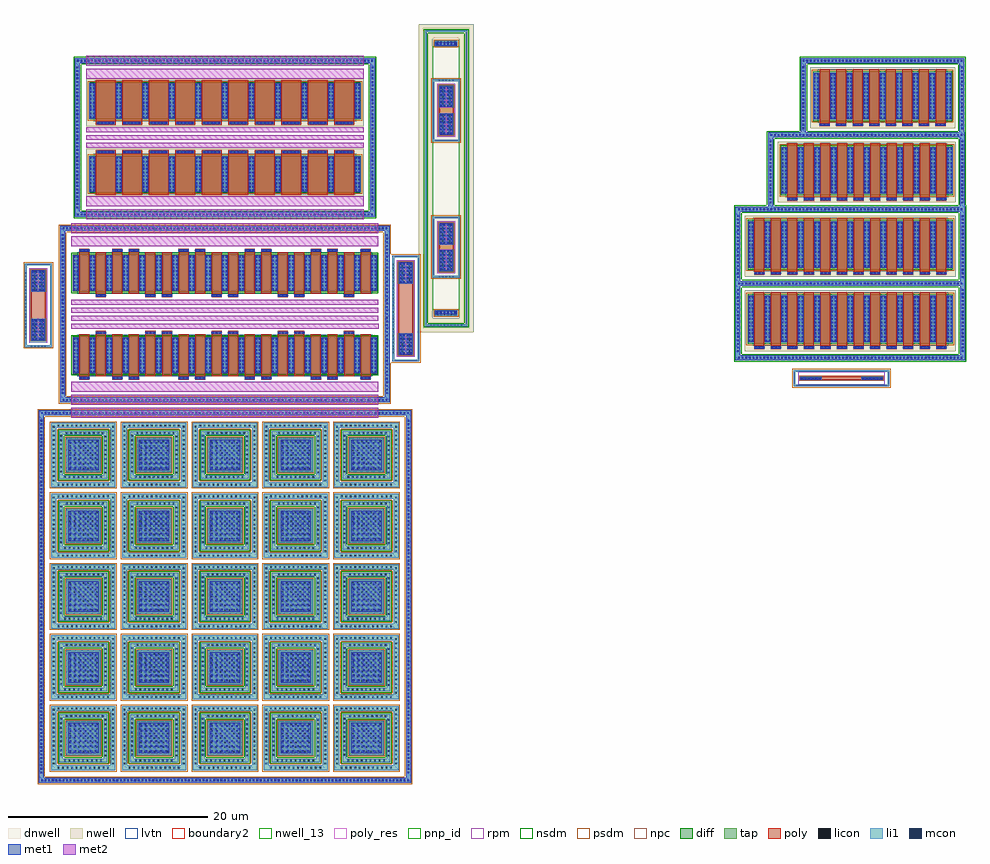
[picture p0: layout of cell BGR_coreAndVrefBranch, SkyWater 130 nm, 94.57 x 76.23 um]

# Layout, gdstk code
from math import pi, radians
import gdstk
lib = gdstk.Library(unit=1e-6, precision=5e-09)
def R(c, l, rs):  # rectangles x0, y0, x1, y1
    for r in rs: c.add(gdstk.rectangle(r[:2], r[2:], *l))
def A(c, l, x, y, w, h, nx, ny, dx, dy):  # array of equal rectangles
    R(c, l, [(x+i*dx, y+j*dy, x+i*dx+w, y+j*dy+h) for i in range(nx) for j in range(ny)])
def P(c, l, *ps):  # polygons
    for p in ps: c.add(gdstk.Polygon(p, *l))
nwell_13 = (64, 13)
dnwell = (64, 18)
nwell = (64, 20)
diff = (65, 20)
tap = (65, 44)
poly_res = (66, 13)
poly = (66, 20)
licon = (66, 44)
li1 = (67, 20)
mcon = (67, 44)
met1 = (68, 20)
met2 = (69, 20)
pnp_id = (82, 44)
rpm = (86, 20)
nsdm = (93, 44)
psdm = (94, 20)
npc = (95, 20)
lvtn = (125, 44)
boundary2 = (236, 0)

pfet = lib.new_cell('pfet')
R(pfet, nwell, [(-0.305,-0.38,2.625,5.72)])
R(pfet, diff, [(0,0,2.32,5)])
R(pfet, poly, [(0.66,-0.2,1.66,5.2), (0.66,5.2,1.66,5.53)])
A(pfet, licon, 0.065, 0.255, 0.17, 0.17, 1, 13, 0, 0.36)
A(pfet, licon, 0.425, 0.255, 0.17, 0.17, 1, 13, 0, 0.36)
A(pfet, licon, 1.725, 0.255, 0.17, 0.17, 1, 13, 0, 0.36)
A(pfet, licon, 2.085, 0.255, 0.17, 0.17, 1, 13, 0, 0.36)
A(pfet, licon, 0.715, 5.28, 0.17, 0.17, 3, 1, 0.36, 0)
R(pfet, li1, [(0.065,0.175,0.595,4.825), (1.725,0.175,2.255,4.825), (0.635,5.28,1.685,5.45)])
A(pfet, mcon, 0.065, 0.255, 0.17, 0.17, 1, 13, 0, 0.36)
A(pfet, mcon, 0.425, 0.255, 0.17, 0.17, 1, 13, 0, 0.36)
A(pfet, mcon, 1.725, 0.255, 0.17, 0.17, 1, 13, 0, 0.36)
A(pfet, mcon, 2.085, 0.255, 0.17, 0.17, 1, 13, 0, 0.36)
A(pfet, mcon, 0.715, 5.28, 0.17, 0.17, 3, 1, 0.36, 0)
R(pfet, met1, [(0.035,0.195,0.625,4.805), (1.695,0.195,2.285,4.805), (0.655,5.25,1.665,5.48)])
R(pfet, psdm, [(-0.125,-0.125,2.445,5.125)])
R(pfet, npc, [(0.65,5.19,1.67,5.54)])
R(pfet, lvtn, [(0.48,-0.18,1.84,5.18)])

guard_ring_gen_8 = lib.new_cell('guard_ring_gen$8')
P(guard_ring_gen_8, tap, [(-0.5,-0.5),(-0.5,6.95),(0,6.95),(0,0),(22.04,0),(22.04,6.95),(-0.5,6.95),(-0.5,7.45),(22.54,7.45),(22.54,-0.5)])
A(guard_ring_gen_8, licon, -0.225, -0.335, 0.17, 0.17, 63, 2, 0.36, 7.45)
A(guard_ring_gen_8, licon, -0.335, 0.33, 0.17, 0.17, 1, 18, 0, 0.36)
A(guard_ring_gen_8, licon, 22.205, 0.33, 0.17, 0.17, 1, 18, 0, 0.36)
P(guard_ring_gen_8, li1, [(-0.5,-0.5),(-0.5,6.95),(0,6.95),(0,0),(22.04,0),(22.04,6.95),(-0.5,6.95),(-0.5,7.45),(22.54,7.45),(22.54,-0.5)])
A(guard_ring_gen_8, mcon, -0.225, -0.335, 0.17, 0.17, 63, 2, 0.36, 7.45)
A(guard_ring_gen_8, mcon, -0.335, 0.33, 0.17, 0.17, 1, 18, 0, 0.36)
A(guard_ring_gen_8, mcon, 22.205, 0.33, 0.17, 0.17, 1, 18, 0, 0.36)
P(guard_ring_gen_8, met1, [(-0.5,-0.5),(-0.5,6.95),(0,6.95),(0,0),(22.04,0),(22.04,6.95),(-0.5,6.95),(-0.5,7.45),(22.54,7.45),(22.54,-0.5)])
P(guard_ring_gen_8, nsdm, [(-0.625,-0.625),(-0.625,6.825),(0.125,6.825),(0.125,0.125),(21.915,0.125),(21.915,6.825),(-0.625,6.825),(-0.625,7.575),(22.665,7.575),(22.665,-0.625)])

guard_ring_gen_4 = lib.new_cell('guard_ring_gen$4')
P(guard_ring_gen_4, tap, [(-0.5,-0.5),(-0.5,6.95),(0,6.95),(0,0),(15.4,0),(15.4,6.95),(-0.5,6.95),(-0.5,7.45),(15.9,7.45),(15.9,-0.5)])
A(guard_ring_gen_4, licon, -0.305, -0.335, 0.17, 0.17, 45, 2, 0.36, 7.45)
A(guard_ring_gen_4, licon, -0.335, 0.33, 0.17, 0.17, 1, 18, 0, 0.36)
A(guard_ring_gen_4, licon, 15.565, 0.33, 0.17, 0.17, 1, 18, 0, 0.36)
P(guard_ring_gen_4, li1, [(-0.5,-0.5),(-0.5,6.95),(0,6.95),(0,0),(15.4,0),(15.4,6.95),(-0.5,6.95),(-0.5,7.45),(15.9,7.45),(15.9,-0.5)])
A(guard_ring_gen_4, mcon, -0.305, -0.335, 0.17, 0.17, 45, 2, 0.36, 7.45)
A(guard_ring_gen_4, mcon, -0.335, 0.33, 0.17, 0.17, 1, 18, 0, 0.36)
A(guard_ring_gen_4, mcon, 15.565, 0.33, 0.17, 0.17, 1, 18, 0, 0.36)
P(guard_ring_gen_4, met1, [(-0.5,-0.5),(-0.5,6.95),(0,6.95),(0,0),(15.4,0),(15.4,6.95),(-0.5,6.95),(-0.5,7.45),(15.9,7.45),(15.9,-0.5)])
P(guard_ring_gen_4, nsdm, [(-0.625,-0.625),(-0.625,6.825),(0.125,6.825),(0.125,0.125),(15.275,0.125),(15.275,6.825),(-0.625,6.825),(-0.625,7.575),(16.025,7.575),(16.025,-0.625)])

guard_ring_gen = lib.new_cell('guard_ring_gen')
P(guard_ring_gen, tap, [(-0.5,-0.5),(-0.5,6.95),(0,6.95),(0,0),(18.72,0),(18.72,6.95),(-0.5,6.95),(-0.5,7.45),(19.22,7.45),(19.22,-0.5)])
A(guard_ring_gen, licon, -0.265, -0.335, 0.17, 0.17, 54, 2, 0.36, 7.45)
A(guard_ring_gen, licon, -0.335, 0.33, 0.17, 0.17, 1, 18, 0, 0.36)
A(guard_ring_gen, licon, 18.885, 0.33, 0.17, 0.17, 1, 18, 0, 0.36)
P(guard_ring_gen, li1, [(-0.5,-0.5),(-0.5,6.95),(0,6.95),(0,0),(18.72,0),(18.72,6.95),(-0.5,6.95),(-0.5,7.45),(19.22,7.45),(19.22,-0.5)])
A(guard_ring_gen, mcon, -0.265, -0.335, 0.17, 0.17, 54, 2, 0.36, 7.45)
A(guard_ring_gen, mcon, -0.335, 0.33, 0.17, 0.17, 1, 18, 0, 0.36)
A(guard_ring_gen, mcon, 18.885, 0.33, 0.17, 0.17, 1, 18, 0, 0.36)
P(guard_ring_gen, met1, [(-0.5,-0.5),(-0.5,6.95),(0,6.95),(0,0),(18.72,0),(18.72,6.95),(-0.5,6.95),(-0.5,7.45),(19.22,7.45),(19.22,-0.5)])
P(guard_ring_gen, nsdm, [(-0.625,-0.625),(-0.625,6.825),(0.125,6.825),(0.125,0.125),(18.595,0.125),(18.595,6.825),(-0.625,6.825),(-0.625,7.575),(19.345,7.575),(19.345,-0.625)])

res_poly = lib.new_cell('res_poly')
R(res_poly, tap, [(-0.825,-4.8,0.825,-4.63), (-0.825,-4.63,-0.655,4.63), (0.655,-4.63,0.825,4.63), (-0.825,4.63,0.825,4.8)])
R(res_poly, poly_res, [(-0.175,-2.05,0.175,2.05)])
R(res_poly, poly, [(-0.175,-4.15,0.175,4.15)])
A(res_poly, licon, -0.825, -3.995, 0.17, 0.17, 1, 24, 0, 0.34)
A(res_poly, licon, 0.655, -3.995, 0.17, 0.17, 1, 24, 0, 0.34)
R(res_poly, licon, [(-0.255,-4.8,-0.085,-4.63), (0.085,-4.8,0.255,-4.63), (-0.095,-4.07,0.095,-2.07), (-0.095,2.07,0.095,4.07), (-0.255,4.63,-0.085,4.8), (0.085,4.63,0.255,4.8)])
R(res_poly, li1, [(-0.825,-4.8,0.825,-4.63), (-0.825,-4.63,-0.655,4.63), (0.655,-4.63,0.825,4.63), (-0.175,-4.15,0.175,-1.99), (-0.175,1.99,0.175,4.15), (-0.825,4.63,0.825,4.8)])
A(res_poly, mcon, -0.085, -4.05, 0.17, 0.17, 1, 6, 0, 0.36)
A(res_poly, mcon, -0.085, 2.085, 0.17, 0.17, 1, 6, 0, 0.36)
R(res_poly, met1, [(-0.125,-4.12,0.125,-2.015), (-0.125,2.015,0.125,4.12)])
R(res_poly, rpm, [(-0.635,-4.35,0.635,4.35)])
R(res_poly, psdm, [(-0.95,-4.925,0.95,4.925)])
R(res_poly, npc, [(-0.27,-4.245,0.27,4.245)])

res_poly_8 = lib.new_cell('res_poly$8')
R(res_poly_8, nwell_13, [(-1.325,-13.25,1.325,13.25)])
R(res_poly_8, dnwell, [(-2.355,-15.07,2.355,15.07)])
R(res_poly_8, nwell, [(-2.755,-15.47,2.755,-14.04), (-2.755,-14.04,-1.325,14.04), (1.325,-14.04,2.755,14.04), (-2.755,14.04,2.755,15.47)])
R(res_poly_8, tap, [(-2.125,-14.84,2.125,-14.67), (-2.125,-14.67,-1.955,14.67), (1.955,-14.67,2.125,14.67), (-1.125,-13.78,1.125,-13.25), (-1.125,13.25,1.125,13.78), (-2.125,14.67,2.125,14.84)])
A(res_poly_8, licon, -1.615, -14.84, 0.17, 0.17, 10, 2, 0.34, 29.51)
A(res_poly_8, licon, -2.125, -14.195, 0.17, 0.17, 1, 84, 0, 0.34)
A(res_poly_8, licon, 1.955, -14.195, 0.17, 0.17, 1, 84, 0, 0.34)
A(res_poly_8, licon, -0.935, -13.77, 0.17, 0.17, 6, 2, 0.34, 0.34)
A(res_poly_8, licon, -0.935, 13.26, 0.17, 0.17, 6, 2, 0.34, 0.34)
R(res_poly_8, li1, [(-2.125,-14.84,2.125,-14.67), (-2.125,-14.67,-1.955,14.67), (1.955,-14.67,2.125,14.67), (-1.085,-13.78,1.085,-13.25), (-1.085,13.25,1.085,13.78), (-2.125,14.67,2.125,14.84)])
A(res_poly_8, mcon, -0.985, -13.55, 0.17, 0.17, 6, 2, 0.36, 26.93)
R(res_poly_8, met1, [(-1.125,-13.63,1.125,-13.305), (-1.125,13.305,1.125,13.63)])
R(res_poly_8, nsdm, [(-2.25,-14.965,2.25,-14.545), (-2.25,-14.545,-1.83,14.545), (1.83,-14.545,2.25,14.545), (-2.25,14.545,2.25,14.965)])
R(res_poly_8, psdm, [(-1.25,-13.905,1.25,-13.125), (-1.25,13.125,1.25,13.905)])

res_poly_7 = lib.new_cell('res_poly$7')
R(res_poly_7, tap, [(-1.355,-3.11,1.355,-2.94), (-1.355,-2.94,-1.185,2.94), (1.185,-2.94,1.355,2.94), (-1.355,2.94,1.355,3.11)])
R(res_poly_7, poly_res, [(-0.705,-0.36,0.705,0.36)])
R(res_poly_7, poly, [(-0.705,-2.46,0.705,2.46)])
A(res_poly_7, licon, -0.765, -3.11, 0.17, 0.17, 5, 2, 0.34, 6.05)
A(res_poly_7, licon, -1.355, -2.295, 0.17, 0.17, 1, 14, 0, 0.34)
A(res_poly_7, licon, 1.185, -2.295, 0.17, 0.17, 1, 14, 0, 0.34)
R(res_poly_7, licon, [(-0.45,-2.38,-0.26,-0.38), (0.26,-2.38,0.45,-0.38), (-0.45,0.38,-0.26,2.38), (0.26,0.38,0.45,2.38)])
R(res_poly_7, li1, [(-1.355,-3.11,1.355,-2.94), (-1.355,-2.94,-1.185,2.94), (1.185,-2.94,1.355,2.94), (-0.705,-2.46,0.705,-0.3), (-0.705,0.3,0.705,2.46), (-1.355,2.94,1.355,3.11)])
A(res_poly_7, mcon, -0.625, -2.36, 0.17, 0.17, 4, 6, 0.36, 0.36)
A(res_poly_7, mcon, -0.625, 0.395, 0.17, 0.17, 4, 6, 0.36, 0.36)
R(res_poly_7, met1, [(-0.655,-2.43,0.655,-0.325), (-0.655,0.325,0.655,2.43)])
R(res_poly_7, rpm, [(-0.905,-2.66,0.905,2.66)])
R(res_poly_7, psdm, [(-1.48,-3.235,1.48,3.235)])
R(res_poly_7, npc, [(-0.8,-2.555,0.8,2.555)])

res_poly_4 = lib.new_cell('res_poly$4')
R(res_poly_4, tap, [(-1.355,-5.305,1.355,-5.135), (-1.355,-5.135,-1.185,5.135), (1.185,-5.135,1.355,5.135), (-1.355,5.135,1.355,5.305)])
R(res_poly_4, poly_res, [(-0.705,-2.555,0.705,2.555)])
R(res_poly_4, poly, [(-0.705,-4.655,0.705,4.655)])
A(res_poly_4, licon, -0.765, -5.305, 0.17, 0.17, 5, 2, 0.34, 10.44)
A(res_poly_4, licon, -1.355, -4.505, 0.17, 0.17, 1, 27, 0, 0.34)
A(res_poly_4, licon, 1.185, -4.505, 0.17, 0.17, 1, 27, 0, 0.34)
R(res_poly_4, licon, [(-0.45,-4.575,-0.26,-2.575), (0.26,-4.575,0.45,-2.575), (-0.45,2.575,-0.26,4.575), (0.26,2.575,0.45,4.575)])
R(res_poly_4, li1, [(-1.355,-5.305,1.355,-5.135), (-1.355,-5.135,-1.185,5.135), (1.185,-5.135,1.355,5.135), (-0.705,-4.655,0.705,-2.495), (-0.705,2.495,0.705,4.655), (-1.355,5.135,1.355,5.305)])
A(res_poly_4, mcon, -0.625, -4.555, 0.17, 0.17, 4, 6, 0.36, 0.36)
A(res_poly_4, mcon, -0.625, 2.59, 0.17, 0.17, 4, 6, 0.36, 0.36)
R(res_poly_4, met1, [(-0.655,-4.625,0.655,-2.52), (-0.655,2.52,0.655,4.625)])
R(res_poly_4, rpm, [(-0.905,-4.855,0.905,4.855)])
R(res_poly_4, psdm, [(-1.48,-5.43,1.48,5.43)])
R(res_poly_4, npc, [(-0.8,-4.75,0.8,4.75)])

nfet_1 = lib.new_cell('nfet$1')
R(nfet_1, diff, [(0,0,2.32,3.8)])
R(nfet_1, poly, [(0.66,-0.2,1.66,4), (0.66,4,1.66,4.33)])
A(nfet_1, licon, 0.065, 0.195, 0.17, 0.17, 1, 10, 0, 0.36)
A(nfet_1, licon, 0.425, 0.195, 0.17, 0.17, 1, 10, 0, 0.36)
A(nfet_1, licon, 1.725, 0.195, 0.17, 0.17, 1, 10, 0, 0.36)
A(nfet_1, licon, 2.085, 0.195, 0.17, 0.17, 1, 10, 0, 0.36)
A(nfet_1, licon, 0.715, 4.08, 0.17, 0.17, 3, 1, 0.36, 0)
R(nfet_1, li1, [(0.065,0.115,0.595,3.685), (1.725,0.115,2.255,3.685), (0.635,4.08,1.685,4.25)])
A(nfet_1, mcon, 0.065, 0.195, 0.17, 0.17, 1, 10, 0, 0.36)
A(nfet_1, mcon, 0.425, 0.195, 0.17, 0.17, 1, 10, 0, 0.36)
A(nfet_1, mcon, 1.725, 0.195, 0.17, 0.17, 1, 10, 0, 0.36)
A(nfet_1, mcon, 2.085, 0.195, 0.17, 0.17, 1, 10, 0, 0.36)
A(nfet_1, mcon, 0.715, 4.08, 0.17, 0.17, 3, 1, 0.36, 0)
R(nfet_1, met1, [(0.035,0.135,0.625,3.665), (1.695,0.135,2.285,3.665), (0.655,4.05,1.665,4.28)])
R(nfet_1, nsdm, [(-0.125,-0.125,2.445,3.925)])
R(nfet_1, npc, [(0.65,3.99,1.67,4.34)])
R(nfet_1, lvtn, [(0.48,-0.18,1.84,3.98)])

nfet = lib.new_cell('nfet')
R(nfet, diff, [(0,0,2.32,3.8)])
R(nfet, poly, [(0.66,-0.53,1.66,-0.2), (0.66,-0.2,1.66,4)])
A(nfet, licon, 0.715, -0.45, 0.17, 0.17, 3, 1, 0.36, 0)
A(nfet, licon, 0.065, 0.195, 0.17, 0.17, 1, 10, 0, 0.36)
A(nfet, licon, 0.425, 0.195, 0.17, 0.17, 1, 10, 0, 0.36)
A(nfet, licon, 1.725, 0.195, 0.17, 0.17, 1, 10, 0, 0.36)
A(nfet, licon, 2.085, 0.195, 0.17, 0.17, 1, 10, 0, 0.36)
R(nfet, li1, [(0.635,-0.45,1.685,-0.28), (0.065,0.115,0.595,3.685), (1.725,0.115,2.255,3.685)])
A(nfet, mcon, 0.715, -0.45, 0.17, 0.17, 3, 1, 0.36, 0)
A(nfet, mcon, 0.065, 0.195, 0.17, 0.17, 1, 10, 0, 0.36)
A(nfet, mcon, 0.425, 0.195, 0.17, 0.17, 1, 10, 0, 0.36)
A(nfet, mcon, 1.725, 0.195, 0.17, 0.17, 1, 10, 0, 0.36)
A(nfet, mcon, 2.085, 0.195, 0.17, 0.17, 1, 10, 0, 0.36)
R(nfet, met1, [(0.655,-0.48,1.665,-0.25), (0.035,0.135,0.625,3.665), (1.695,0.135,2.285,3.665)])
R(nfet, nsdm, [(-0.125,-0.125,2.445,3.925)])
R(nfet, npc, [(0.65,-0.54,1.67,-0.19)])
R(nfet, lvtn, [(0.48,-0.18,1.84,3.98)])

res_poly_6 = lib.new_cell('res_poly$6')
R(res_poly_6, tap, [(-1.355,-3.06,1.355,-2.89), (-1.355,-2.89,-1.185,2.89), (1.185,-2.89,1.355,2.89), (-1.355,2.89,1.355,3.06)])
R(res_poly_6, poly_res, [(-0.705,-0.31,0.705,0.31)])
R(res_poly_6, poly, [(-0.705,-2.41,0.705,2.41)])
A(res_poly_6, licon, -0.765, -3.06, 0.17, 0.17, 5, 2, 0.34, 5.95)
A(res_poly_6, licon, -1.355, -2.295, 0.17, 0.17, 1, 14, 0, 0.34)
A(res_poly_6, licon, 1.185, -2.295, 0.17, 0.17, 1, 14, 0, 0.34)
R(res_poly_6, licon, [(-0.45,-2.33,-0.26,-0.33), (0.26,-2.33,0.45,-0.33), (-0.45,0.33,-0.26,2.33), (0.26,0.33,0.45,2.33)])
R(res_poly_6, li1, [(-1.355,-3.06,1.355,-2.89), (-1.355,-2.89,-1.185,2.89), (1.185,-2.89,1.355,2.89), (-0.705,-2.41,0.705,-0.25), (-0.705,0.25,0.705,2.41), (-1.355,2.89,1.355,3.06)])
A(res_poly_6, mcon, -0.625, -2.31, 0.17, 0.17, 4, 6, 0.36, 0.36)
A(res_poly_6, mcon, -0.625, 0.345, 0.17, 0.17, 4, 6, 0.36, 0.36)
R(res_poly_6, met1, [(-0.655,-2.38,0.655,-0.275), (-0.655,0.275,0.655,2.38)])
R(res_poly_6, rpm, [(-0.905,-2.61,0.905,2.61)])
R(res_poly_6, psdm, [(-1.48,-3.185,1.48,3.185)])
R(res_poly_6, npc, [(-0.8,-2.505,0.8,2.505)])

pfet_3 = lib.new_cell('pfet$3')
R(pfet_3, nwell, [(-0.305,-0.38,3.625,4.42)])
R(pfet_3, diff, [(0,0,3.32,3.7)])
R(pfet_3, poly, [(0.66,-0.2,2.66,3.9), (0.66,3.9,2.66,4.23)])
A(pfet_3, licon, 0.065, 0.145, 0.17, 0.17, 1, 10, 0, 0.36)
A(pfet_3, licon, 0.425, 0.145, 0.17, 0.17, 1, 10, 0, 0.36)
A(pfet_3, licon, 2.725, 0.145, 0.17, 0.17, 1, 10, 0, 0.36)
A(pfet_3, licon, 3.085, 0.145, 0.17, 0.17, 1, 10, 0, 0.36)
A(pfet_3, licon, 0.855, 3.98, 0.17, 0.17, 5, 1, 0.36, 0)
R(pfet_3, li1, [(0.065,0.065,0.595,3.635), (2.725,0.065,3.255,3.635), (0.775,3.98,2.545,4.15)])
A(pfet_3, mcon, 0.065, 0.145, 0.17, 0.17, 1, 10, 0, 0.36)
A(pfet_3, mcon, 0.425, 0.145, 0.17, 0.17, 1, 10, 0, 0.36)
A(pfet_3, mcon, 2.725, 0.145, 0.17, 0.17, 1, 10, 0, 0.36)
A(pfet_3, mcon, 3.085, 0.145, 0.17, 0.17, 1, 10, 0, 0.36)
A(pfet_3, mcon, 0.855, 3.98, 0.17, 0.17, 5, 1, 0.36, 0)
R(pfet_3, met1, [(0.035,0.085,0.625,3.615), (2.695,0.085,3.285,3.615), (0.795,3.95,2.525,4.18)])
R(pfet_3, psdm, [(-0.125,-0.125,3.445,3.825)])
R(pfet_3, npc, [(0.65,3.89,2.67,4.24)])
R(pfet_3, lvtn, [(0.48,-0.18,2.84,3.88)])

res_poly_5 = lib.new_cell('res_poly$5')
R(res_poly_5, tap, [(-1.355,-4.185,1.355,-4.015), (-1.355,-4.015,-1.185,4.015), (1.185,-4.015,1.355,4.015), (-1.355,4.015,1.355,4.185)])
R(res_poly_5, poly_res, [(-0.705,-1.435,0.705,1.435)])
R(res_poly_5, poly, [(-0.705,-3.535,0.705,3.535)])
A(res_poly_5, licon, -0.765, -4.185, 0.17, 0.17, 5, 2, 0.34, 8.2)
A(res_poly_5, licon, -1.355, -3.315, 0.17, 0.17, 1, 20, 0, 0.34)
A(res_poly_5, licon, 1.185, -3.315, 0.17, 0.17, 1, 20, 0, 0.34)
R(res_poly_5, licon, [(-0.45,-3.455,-0.26,-1.455), (0.26,-3.455,0.45,-1.455), (-0.45,1.455,-0.26,3.455), (0.26,1.455,0.45,3.455)])
R(res_poly_5, li1, [(-1.355,-4.185,1.355,-4.015), (-1.355,-4.015,-1.185,4.015), (1.185,-4.015,1.355,4.015), (-0.705,-3.535,0.705,-1.375), (-0.705,1.375,0.705,3.535), (-1.355,4.015,1.355,4.185)])
A(res_poly_5, mcon, -0.625, -3.435, 0.17, 0.17, 4, 6, 0.36, 0.36)
A(res_poly_5, mcon, -0.625, 1.47, 0.17, 0.17, 4, 6, 0.36, 0.36)
R(res_poly_5, met1, [(-0.655,-3.505,0.655,-1.4), (-0.655,1.4,0.655,3.505)])
R(res_poly_5, rpm, [(-0.905,-3.735,0.905,3.735)])
R(res_poly_5, psdm, [(-1.48,-4.31,1.48,4.31)])
R(res_poly_5, npc, [(-0.8,-3.63,0.8,3.63)])

guard_ring_gen_5 = lib.new_cell('guard_ring_gen$5')
P(guard_ring_gen_5, tap, [(-0.5,-0.5),(-0.5,14.915),(0,14.915),(0,0),(29.12,0),(29.12,14.915),(-0.5,14.915),(-0.5,15.415),(29.62,15.415),(29.62,-0.5)])
A(guard_ring_gen_5, licon, -0.285, -0.335, 0.17, 0.17, 83, 2, 0.36, 15.415)
A(guard_ring_gen_5, licon, -0.335, 0.355, 0.17, 0.17, 1, 40, 0, 0.36)
A(guard_ring_gen_5, licon, 29.285, 0.355, 0.17, 0.17, 1, 40, 0, 0.36)
P(guard_ring_gen_5, li1, [(-0.5,-0.5),(-0.5,14.915),(0,14.915),(0,0),(29.12,0),(29.12,14.915),(-0.5,14.915),(-0.5,15.415),(29.62,15.415),(29.62,-0.5)])
A(guard_ring_gen_5, mcon, -0.285, -0.335, 0.17, 0.17, 83, 2, 0.36, 15.415)
A(guard_ring_gen_5, mcon, -0.335, 0.355, 0.17, 0.17, 1, 40, 0, 0.36)
A(guard_ring_gen_5, mcon, 29.285, 0.355, 0.17, 0.17, 1, 40, 0, 0.36)
P(guard_ring_gen_5, met1, [(-0.5,-0.5),(-0.5,14.915),(0,14.915),(0,0),(29.12,0),(29.12,14.915),(-0.5,14.915),(-0.5,15.415),(29.62,15.415),(29.62,-0.5)])
P(guard_ring_gen_5, nsdm, [(-0.625,-0.625),(-0.625,14.79),(0.125,14.79),(0.125,0.125),(28.995,0.125),(28.995,14.79),(-0.625,14.79),(-0.625,15.54),(29.745,15.54),(29.745,-0.625)])

guard_ring_gen_11 = lib.new_cell('guard_ring_gen$11')
P(guard_ring_gen_11, tap, [(-0.5,-0.5),(-0.5,16.715),(0,16.715),(0,0),(32.04,0),(32.04,16.715),(-0.5,16.715),(-0.5,17.215),(32.54,17.215),(32.54,-0.5)])
A(guard_ring_gen_11, licon, -0.265, -0.335, 0.17, 0.17, 91, 2, 0.36, 17.215)
A(guard_ring_gen_11, licon, -0.335, 0.355, 0.17, 0.17, 1, 45, 0, 0.36)
A(guard_ring_gen_11, licon, 32.205, 0.355, 0.17, 0.17, 1, 45, 0, 0.36)
P(guard_ring_gen_11, li1, [(-0.5,-0.5),(-0.5,16.715),(0,16.715),(0,0),(32.04,0),(32.04,16.715),(-0.5,16.715),(-0.5,17.215),(32.54,17.215),(32.54,-0.5)])
A(guard_ring_gen_11, mcon, -0.265, -0.335, 0.17, 0.17, 91, 2, 0.36, 17.215)
A(guard_ring_gen_11, mcon, -0.335, 0.355, 0.17, 0.17, 1, 45, 0, 0.36)
A(guard_ring_gen_11, mcon, 32.205, 0.355, 0.17, 0.17, 1, 45, 0, 0.36)
P(guard_ring_gen_11, met1, [(-0.5,-0.5),(-0.5,16.715),(0,16.715),(0,0),(32.04,0),(32.04,16.715),(-0.5,16.715),(-0.5,17.215),(32.54,17.215),(32.54,-0.5)])
P(guard_ring_gen_11, psdm, [(-0.625,-0.625),(-0.625,16.59),(0.125,16.59),(0.125,0.125),(31.915,0.125),(31.915,16.59),(-0.625,16.59),(-0.625,17.34),(32.665,17.34),(32.665,-0.625)])

pnp_bjt = lib.new_cell('pnp_bjt')
R(pnp_bjt, nwell, [(0.765,0.765,5.935,5.935)])
R(pnp_bjt, diff, [(1.65,1.65,5.05,5.05)])
P(pnp_bjt, tap, [(0.945,0.945),(0.945,5.755),(5.395,5.755),(5.395,5.395),(1.305,5.395),(1.305,1.305),(5.395,1.305),(5.395,5.755),(5.755,5.755),(5.755,0.945)],
  [(0.13,0.13),(0.13,6.57),(6.065,6.57),(6.065,6.065),(0.635,6.065),(0.635,0.635),(6.065,0.635),(6.065,6.57),(6.57,6.57),(6.57,0.13)])
A(pnp_bjt, licon, 0.78, 0.29, 0.17, 0.17, 12, 2, 0.45, 5.935)
A(pnp_bjt, licon, 0.3, 0.71, 0.17, 0.17, 1, 13, 0, 0.45)
A(pnp_bjt, licon, 6.235, 0.71, 0.17, 0.17, 1, 13, 0, 0.45)
A(pnp_bjt, licon, 1.43, 1.04, 0.17, 0.17, 9, 1, 0.45, 0)
A(pnp_bjt, licon, 5.49, 1.51, 0.17, 0.17, 1, 9, 0, 0.45)
A(pnp_bjt, licon, 1.04, 1.605, 0.17, 0.17, 1, 9, 0, 0.45)
A(pnp_bjt, licon, 1.92, 1.92, 0.17, 0.17, 7, 7, 0.45, 0.45)
A(pnp_bjt, licon, 1.6, 5.49, 0.17, 0.17, 9, 1, 0.45, 0)
A(pnp_bjt, li1, 0.58, 0.21, 0.33, 0.33, 12, 1, 0.45, 0)
A(pnp_bjt, li1, 0.675, 0.24, 0.27, 0.27, 11, 2, 0.5, 5.96)
A(pnp_bjt, li1, 6.16, 0.54, 0.33, 0.33, 1, 13, 0, 0.45)
A(pnp_bjt, li1, 0.22, 0.63, 0.33, 0.33, 1, 13, 0, 0.45)
A(pnp_bjt, li1, 1.35, 0.96, 0.33, 0.33, 9, 1, 0.45, 0)
A(pnp_bjt, li1, 1.14, 0.985, 0.27, 0.27, 9, 1, 0.5, 0)
A(pnp_bjt, li1, 5.41, 1.43, 0.33, 0.33, 1, 9, 0, 0.45)
A(pnp_bjt, li1, 0.96, 1.525, 0.33, 0.33, 1, 9, 0, 0.45)
A(pnp_bjt, li1, 1.84, 1.84, 0.33, 0.33, 7, 7, 0.45, 0.45)
A(pnp_bjt, li1, 1.93, 1.93, 0.27, 0.27, 6, 6, 0.5, 0.5)
A(pnp_bjt, li1, 1.52, 5.41, 0.33, 0.33, 9, 1, 0.45, 0)
A(pnp_bjt, li1, 1.155, 5.44, 0.27, 0.27, 9, 1, 0.5, 0)
A(pnp_bjt, li1, 0.7, 6.165, 0.33, 0.33, 12, 1, 0.45, 0)
R(pnp_bjt, li1, [(1.615,1.615,5.085,5.085), (1.65,1.65,5.05,5.05)])
P(pnp_bjt, li1, [(0.13,0.13),(0.13,6.57),(6.075,6.57),(6.075,6.075),(0.625,6.075),(0.625,0.625),(6.075,0.625),(6.075,6.57),(6.57,6.57),(6.57,0.13)],
  [(0.945,0.945),(0.945,5.755),(5.395,5.755),(5.395,5.395),(1.305,5.395),(1.305,1.305),(5.395,1.305),(5.395,5.755),(5.755,5.755),(5.755,0.945)])
A(pnp_bjt, mcon, 1.98, 1.98, 0.17, 0.17, 6, 6, 0.5, 0.5)
A(pnp_bjt, met1, 1.93, 1.93, 0.27, 0.27, 6, 6, 0.5, 0.5)
R(pnp_bjt, met1, [(1.825,1.825,4.875,4.875)])
R(pnp_bjt, pnp_id, [(0.135,0.135,6.565,6.565)])
P(pnp_bjt, nsdm, [(0.805,0.805),(0.805,5.895),(5.265,5.895),(5.265,5.265),(1.435,5.265),(1.435,1.435),(5.265,1.435),(5.265,5.895),(5.895,5.895),(5.895,0.805)])
R(pnp_bjt, psdm, [(1.52,1.52,5.18,5.18)])
P(pnp_bjt, psdm, [(0,0),(0,6.7),(5.935,6.7),(5.935,5.935),(0.765,5.935),(0.765,0.765),(5.935,0.765),(5.935,6.7),(6.7,6.7),(6.7,0)])
R(pnp_bjt, boundary2, [(0.13,0.13,6.57,6.57)])
pnp_bjt.add(gdstk.Label('Emitter', (3.39,3.39), layer=67, texttype=5))
pnp_bjt.add(gdstk.Label('Collector', (3.32,6.38), layer=67, texttype=5))
pnp_bjt.add(gdstk.Label('Base', (3.245,5.61), layer=67, texttype=5))

guard_ring_gen_12 = lib.new_cell('guard_ring_gen$12')
P(guard_ring_gen_12, tap, [(-0.5,-0.5),(-0.5,36.35),(0,36.35),(0,0),(36.35,0),(36.35,36.35),(-0.5,36.35),(-0.5,36.85),(36.85,36.85),(36.85,-0.5)])
A(guard_ring_gen_12, licon, -0.27, -0.335, 0.17, 0.17, 103, 2, 0.36, 36.85)
A(guard_ring_gen_12, licon, -0.335, 0.45, 0.17, 0.17, 1, 99, 0, 0.36)
A(guard_ring_gen_12, licon, 36.515, 0.45, 0.17, 0.17, 1, 99, 0, 0.36)
P(guard_ring_gen_12, li1, [(-0.5,-0.5),(-0.5,36.35),(0,36.35),(0,0),(36.35,0),(36.35,36.35),(-0.5,36.35),(-0.5,36.85),(36.85,36.85),(36.85,-0.5)])
A(guard_ring_gen_12, mcon, -0.27, -0.335, 0.17, 0.17, 103, 2, 0.36, 36.85)
A(guard_ring_gen_12, mcon, -0.335, 0.45, 0.17, 0.17, 1, 99, 0, 0.36)
A(guard_ring_gen_12, mcon, 36.515, 0.45, 0.17, 0.17, 1, 99, 0, 0.36)
P(guard_ring_gen_12, met1, [(-0.5,-0.5),(-0.5,36.35),(0,36.35),(0,0),(36.35,0),(36.35,36.35),(-0.5,36.35),(-0.5,36.85),(36.85,36.85),(36.85,-0.5)])
P(guard_ring_gen_12, psdm, [(-0.625,-0.625),(-0.625,36.225),(0.125,36.225),(0.125,0.125),(36.225,0.125),(36.225,36.225),(-0.625,36.225),(-0.625,36.975),(36.975,36.975),(36.975,-0.625)])

bgr_coreandvrefbranch = lib.new_cell('BGR_coreAndVrefBranch')
A(bgr_coreandvrefbranch, lvtn, 141.13, 161.245, 12.98, 5.36, 1, 3, 0, 7.45)
A(bgr_coreandvrefbranch, lvtn, 147.77, 161.245, 6.34, 5.36, 1, 3, 0, 7.45)
R(bgr_coreandvrefbranch, lvtn, [(66.78,158.2,96.36,162.36), (134.49,161.245,154.11,166.605), (66.78,166.455,96.36,170.615), (134.49,168.695,154.11,174.055), (137.81,176.145,154.11,181.505), (68.42,176.415,94.72,180.475), (141.05,183.595,154.03,188.955), (147.69,183.595,154.03,188.955), (68.42,183.77,94.72,187.83)])
bgr_coreandvrefbranch.add(gdstk.FlexPath([(96.955,171.715),(66.175,171.715)], 1, ends="flush", simple_path=True, layer=69, datatype=20))  # met2
bgr_coreandvrefbranch.add(gdstk.FlexPath([(96.965,165.605),(66.175,165.605)], 0.5, ends="flush", simple_path=True, layer=69, datatype=20))  # met2
bgr_coreandvrefbranch.add(gdstk.FlexPath([(96.965,164.805),(66.165,164.805)], 0.5, ends="flush", simple_path=True, layer=69, datatype=20))  # met2
bgr_coreandvrefbranch.add(gdstk.FlexPath([(96.965,164.005),(66.165,164.005)], 0.5, ends="flush", simple_path=True, layer=69, datatype=20))  # met2
bgr_coreandvrefbranch.add(gdstk.FlexPath([(96.975,163.21),(66.165,163.21)], 0.5, ends="flush", simple_path=True, layer=69, datatype=20))  # met2
bgr_coreandvrefbranch.add(gdstk.FlexPath([(96.965,157.1),(66.175,157.1)], 1, ends="flush", simple_path=True, layer=69, datatype=20))  # met2
bgr_coreandvrefbranch.add(gdstk.FlexPath([(96.955,173.015),(66.175,173.015)], 1, ends="flush", simple_path=True, layer=69, datatype=20))  # met2
bgr_coreandvrefbranch.add(gdstk.FlexPath([(96.965,155.8),(66.175,155.8)], 1, ends="flush", simple_path=True, layer=69, datatype=20))  # met2
bgr_coreandvrefbranch.add(gdstk.FlexPath([(96.965,154.5),(66.175,154.5)], 1, ends="flush", simple_path=True, layer=69, datatype=20))  # met2
bgr_coreandvrefbranch.add(gdstk.FlexPath([(95.505,182.925),(67.635,182.925)], 0.5, ends="flush", simple_path=True, layer=69, datatype=20))  # met2
bgr_coreandvrefbranch.add(gdstk.FlexPath([(95.505,182.125),(67.635,182.125)], 0.5, ends="flush", simple_path=True, layer=69, datatype=20))  # met2
bgr_coreandvrefbranch.add(gdstk.FlexPath([(95.505,175.715),(67.635,175.715)], 1, ends="flush", simple_path=True, layer=69, datatype=20))  # met2
bgr_coreandvrefbranch.add(gdstk.FlexPath([(95.505,181.325),(67.635,181.325)], 0.5, ends="flush", simple_path=True, layer=69, datatype=20))  # met2
bgr_coreandvrefbranch.add(gdstk.FlexPath([(95.505,174.415),(67.635,174.415)], 1, ends="flush", simple_path=True, layer=69, datatype=20))  # met2
bgr_coreandvrefbranch.add(gdstk.FlexPath([(95.505,188.53),(67.635,188.53)], 1, ends="flush", simple_path=True, layer=69, datatype=20))  # met2
bgr_coreandvrefbranch.add(gdstk.FlexPath([(95.505,189.83),(67.635,189.83)], 1, ends="flush", simple_path=True, layer=69, datatype=20))  # met2
bgr_coreandvrefbranch.add(gdstk.Reference(pfet, (152.93,166.425), rotation=pi))
bgr_coreandvrefbranch.add(gdstk.Reference(pfet, (151.27,166.425), rotation=pi))
bgr_coreandvrefbranch.add(gdstk.Reference(pfet, (147.95,166.425), rotation=pi))
bgr_coreandvrefbranch.add(gdstk.Reference(pfet, (149.61,166.425), rotation=pi))
bgr_coreandvrefbranch.add(gdstk.Reference(pfet, (142.97,166.425), rotation=pi))
bgr_coreandvrefbranch.add(gdstk.Reference(pfet, (144.63,166.425), rotation=pi))
bgr_coreandvrefbranch.add(gdstk.Reference(pfet, (137.99,166.425), rotation=pi))
bgr_coreandvrefbranch.add(gdstk.Reference(pfet, (136.33,166.425), rotation=pi))
bgr_coreandvrefbranch.add(gdstk.Reference(pfet, (139.65,166.425), rotation=pi))
bgr_coreandvrefbranch.add(gdstk.Reference(pfet, (141.31,166.425), rotation=pi))
bgr_coreandvrefbranch.add(gdstk.Reference(pfet, (146.29,166.425), rotation=pi))
bgr_coreandvrefbranch.add(gdstk.Reference(pfet, (154.59,166.425), rotation=pi))
bgr_coreandvrefbranch.add(gdstk.Reference(guard_ring_gen_8, (155.32,160.28), rotation=pi, x_reflection=True))
bgr_coreandvrefbranch.add(gdstk.Reference(pfet, (146.21,188.775), rotation=pi))
bgr_coreandvrefbranch.add(gdstk.Reference(pfet, (147.87,188.775), rotation=pi))
bgr_coreandvrefbranch.add(gdstk.Reference(pfet, (152.85,188.775), rotation=pi))
bgr_coreandvrefbranch.add(gdstk.Reference(pfet, (154.51,188.775), rotation=pi))
bgr_coreandvrefbranch.add(gdstk.Reference(pfet, (151.19,188.775), rotation=pi))
bgr_coreandvrefbranch.add(gdstk.Reference(guard_ring_gen_4, (155.24,182.63), rotation=pi, x_reflection=True))
bgr_coreandvrefbranch.add(gdstk.Reference(pfet, (149.53,188.775), rotation=pi))
bgr_coreandvrefbranch.add(gdstk.Reference(pfet, (142.89,188.775), rotation=pi))
bgr_coreandvrefbranch.add(gdstk.Reference(pfet, (152.93,173.875), rotation=pi))
bgr_coreandvrefbranch.add(gdstk.Reference(pfet, (151.27,173.875), rotation=pi))
bgr_coreandvrefbranch.add(gdstk.Reference(pfet, (147.95,173.875), rotation=pi))
bgr_coreandvrefbranch.add(gdstk.Reference(pfet, (149.61,173.875), rotation=pi))
bgr_coreandvrefbranch.add(gdstk.Reference(pfet, (142.97,173.875), rotation=pi))
bgr_coreandvrefbranch.add(gdstk.Reference(pfet, (144.63,173.875), rotation=pi))
bgr_coreandvrefbranch.add(gdstk.Reference(pfet, (137.99,173.875), rotation=pi))
bgr_coreandvrefbranch.add(gdstk.Reference(pfet, (136.33,173.875), rotation=pi))
bgr_coreandvrefbranch.add(gdstk.Reference(pfet, (139.65,173.875), rotation=pi))
bgr_coreandvrefbranch.add(gdstk.Reference(pfet, (141.31,173.875), rotation=pi))
bgr_coreandvrefbranch.add(gdstk.Reference(pfet, (146.29,173.875), rotation=pi))
bgr_coreandvrefbranch.add(gdstk.Reference(pfet, (154.59,173.875), rotation=pi))
bgr_coreandvrefbranch.add(gdstk.Reference(guard_ring_gen_8, (155.32,167.73), rotation=pi, x_reflection=True))
bgr_coreandvrefbranch.add(gdstk.Reference(pfet, (154.59,181.325), rotation=pi))
bgr_coreandvrefbranch.add(gdstk.Reference(pfet, (141.31,181.325), rotation=pi))
bgr_coreandvrefbranch.add(gdstk.Reference(pfet, (139.65,181.325), rotation=pi))
bgr_coreandvrefbranch.add(gdstk.Reference(pfet, (149.61,181.325), rotation=pi))
bgr_coreandvrefbranch.add(gdstk.Reference(pfet, (142.97,181.325), rotation=pi))
bgr_coreandvrefbranch.add(gdstk.Reference(pfet, (144.63,181.325), rotation=pi))
bgr_coreandvrefbranch.add(gdstk.Reference(pfet, (146.29,181.325), rotation=pi))
bgr_coreandvrefbranch.add(gdstk.Reference(pfet, (147.95,181.325), rotation=pi))
bgr_coreandvrefbranch.add(gdstk.Reference(pfet, (152.93,181.325), rotation=pi))
bgr_coreandvrefbranch.add(gdstk.Reference(pfet, (151.27,181.325), rotation=pi))
bgr_coreandvrefbranch.add(gdstk.Reference(guard_ring_gen, (155.28,175.18), rotation=pi, x_reflection=True))
bgr_coreandvrefbranch.add(gdstk.Reference(pfet, (144.55,188.775), rotation=pi))
bgr_coreandvrefbranch.add(gdstk.Reference(res_poly, (143.42,157.975), rotation=pi/2, x_reflection=True))
bgr_coreandvrefbranch.add(gdstk.Reference(res_poly_8, (103.765,178.04)))
bgr_coreandvrefbranch.add(gdstk.Reference(res_poly_7, (103.765,184.845)))
bgr_coreandvrefbranch.add(gdstk.Reference(res_poly_4, (99.725,164.965)))
bgr_coreandvrefbranch.add(gdstk.Reference(nfet_1, (66.3,166.635)))
bgr_coreandvrefbranch.add(gdstk.Reference(nfet, (67.96,166.635)))
bgr_coreandvrefbranch.add(gdstk.Reference(res_poly_6, (103.765,171.135)))
bgr_coreandvrefbranch.add(gdstk.Reference(nfet_1, (69.62,166.635)))
bgr_coreandvrefbranch.add(gdstk.Reference(pfet_3, (91.88,176.595)))
bgr_coreandvrefbranch.add(gdstk.Reference(pfet_3, (91.88,187.65), x_reflection=True))
bgr_coreandvrefbranch.add(gdstk.Reference(pfet_3, (73.26,187.65), x_reflection=True))
bgr_coreandvrefbranch.add(gdstk.Reference(pfet_3, (75.92,187.65), x_reflection=True))
bgr_coreandvrefbranch.add(gdstk.Reference(pfet_3, (86.56,176.595)))
bgr_coreandvrefbranch.add(gdstk.Reference(pfet_3, (67.94,187.65), x_reflection=True))
bgr_coreandvrefbranch.add(gdstk.Reference(nfet_1, (71.28,166.635)))
bgr_coreandvrefbranch.add(gdstk.Reference(nfet, (72.94,166.635)))
bgr_coreandvrefbranch.add(gdstk.Reference(pfet_3, (86.56,187.65), x_reflection=True))
bgr_coreandvrefbranch.add(gdstk.Reference(nfet, (74.6,166.635)))
bgr_coreandvrefbranch.add(gdstk.Reference(nfet_1, (76.26,166.635)))
bgr_coreandvrefbranch.add(gdstk.Reference(nfet_1, (77.92,166.635)))
bgr_coreandvrefbranch.add(gdstk.Reference(nfet, (79.58,166.635)))
bgr_coreandvrefbranch.add(gdstk.Reference(nfet, (81.24,166.635)))
bgr_coreandvrefbranch.add(gdstk.Reference(nfet_1, (82.9,166.635)))
bgr_coreandvrefbranch.add(gdstk.Reference(nfet_1, (84.56,166.635)))
bgr_coreandvrefbranch.add(gdstk.Reference(nfet, (86.22,166.635)))
bgr_coreandvrefbranch.add(gdstk.Reference(pfet_3, (78.58,187.65), x_reflection=True))
bgr_coreandvrefbranch.add(gdstk.Reference(pfet_3, (89.22,187.65), x_reflection=True))
bgr_coreandvrefbranch.add(gdstk.Reference(nfet, (87.88,166.635)))
bgr_coreandvrefbranch.add(gdstk.Reference(nfet_1, (89.54,166.635)))
bgr_coreandvrefbranch.add(gdstk.Reference(res_poly_5, (62.855,165.295)))
bgr_coreandvrefbranch.add(gdstk.Reference(pfet_3, (89.22,176.595)))
bgr_coreandvrefbranch.add(gdstk.Reference(pfet_3, (81.24,187.65), x_reflection=True))
bgr_coreandvrefbranch.add(gdstk.Reference(pfet_3, (83.9,187.65), x_reflection=True))
bgr_coreandvrefbranch.add(gdstk.Reference(pfet_3, (83.9,176.595)))
bgr_coreandvrefbranch.add(gdstk.Reference(pfet_3, (81.24,176.595)))
bgr_coreandvrefbranch.add(gdstk.Reference(pfet_3, (78.58,176.595)))
bgr_coreandvrefbranch.add(gdstk.Reference(pfet_3, (75.92,176.595)))
bgr_coreandvrefbranch.add(gdstk.Reference(pfet_3, (73.26,176.595)))
bgr_coreandvrefbranch.add(gdstk.Reference(pfet_3, (70.6,176.595)))
bgr_coreandvrefbranch.add(gdstk.Reference(pfet_3, (67.94,176.595)))
bgr_coreandvrefbranch.add(gdstk.Reference(pfet_3, (70.6,187.65), x_reflection=True))
bgr_coreandvrefbranch.add(gdstk.Reference(guard_ring_gen_5, (67.01,174.665)))
bgr_coreandvrefbranch.add(gdstk.Reference(nfet, (92.86,166.635)))
bgr_coreandvrefbranch.add(gdstk.Reference(nfet_1, (94.52,166.635)))
bgr_coreandvrefbranch.add(gdstk.Reference(nfet_1, (91.2,166.635)))
bgr_coreandvrefbranch.add(gdstk.Reference(nfet, (67.96,162.18), x_reflection=True))
bgr_coreandvrefbranch.add(gdstk.Reference(nfet_1, (66.3,162.18), x_reflection=True))
bgr_coreandvrefbranch.add(gdstk.Reference(nfet_1, (69.62,162.18), x_reflection=True))
bgr_coreandvrefbranch.add(gdstk.Reference(nfet_1, (71.28,162.18), x_reflection=True))
bgr_coreandvrefbranch.add(gdstk.Reference(nfet, (72.94,162.18), x_reflection=True))
bgr_coreandvrefbranch.add(gdstk.Reference(nfet, (74.6,162.18), x_reflection=True))
bgr_coreandvrefbranch.add(gdstk.Reference(nfet_1, (76.26,162.18), x_reflection=True))
bgr_coreandvrefbranch.add(gdstk.Reference(nfet_1, (77.92,162.18), x_reflection=True))
bgr_coreandvrefbranch.add(gdstk.Reference(nfet, (79.58,162.18), x_reflection=True))
bgr_coreandvrefbranch.add(gdstk.Reference(nfet, (81.24,162.18), x_reflection=True))
bgr_coreandvrefbranch.add(gdstk.Reference(nfet_1, (82.9,162.18), x_reflection=True))
bgr_coreandvrefbranch.add(gdstk.Reference(nfet_1, (84.56,162.18), x_reflection=True))
bgr_coreandvrefbranch.add(gdstk.Reference(nfet, (86.22,162.18), x_reflection=True))
bgr_coreandvrefbranch.add(gdstk.Reference(nfet, (87.88,162.18), x_reflection=True))
bgr_coreandvrefbranch.add(gdstk.Reference(nfet_1, (89.54,162.18), x_reflection=True))
bgr_coreandvrefbranch.add(gdstk.Reference(nfet, (92.86,162.18), x_reflection=True))
bgr_coreandvrefbranch.add(gdstk.Reference(nfet_1, (94.52,162.18), x_reflection=True))
bgr_coreandvrefbranch.add(gdstk.Reference(nfet_1, (91.2,162.18), x_reflection=True))
bgr_coreandvrefbranch.add(gdstk.Reference(guard_ring_gen_11, (65.55,156.05)))
bgr_coreandvrefbranch.add(gdstk.Reference(pnp_bjt, (78.22,139.825)))
bgr_coreandvrefbranch.add(gdstk.Reference(pnp_bjt, (78.22,125.625)))
bgr_coreandvrefbranch.add(gdstk.Reference(pnp_bjt, (78.22,132.725)))
bgr_coreandvrefbranch.add(gdstk.Reference(pnp_bjt, (71.12,139.825)))
bgr_coreandvrefbranch.add(gdstk.Reference(pnp_bjt, (64.02,146.925)))
bgr_coreandvrefbranch.add(gdstk.Reference(pnp_bjt, (64.02,132.725)))
bgr_coreandvrefbranch.add(gdstk.Reference(pnp_bjt, (64.02,139.825)))
bgr_coreandvrefbranch.add(gdstk.Reference(pnp_bjt, (71.12,146.925)))
bgr_coreandvrefbranch.add(gdstk.Reference(pnp_bjt, (71.12,125.625)))
bgr_coreandvrefbranch.add(gdstk.Reference(pnp_bjt, (78.22,146.925)))
bgr_coreandvrefbranch.add(gdstk.Reference(pnp_bjt, (71.12,132.725)))
bgr_coreandvrefbranch.add(gdstk.Reference(pnp_bjt, (64.02,125.625)))
bgr_coreandvrefbranch.add(gdstk.Reference(pnp_bjt, (92.42,139.825)))
bgr_coreandvrefbranch.add(gdstk.Reference(pnp_bjt, (85.32,146.925)))
bgr_coreandvrefbranch.add(gdstk.Reference(pnp_bjt, (92.42,146.925)))
bgr_coreandvrefbranch.add(gdstk.Reference(guard_ring_gen_12, (63.395,117.9)))
bgr_coreandvrefbranch.add(gdstk.Reference(pnp_bjt, (78.22,118.525)))
bgr_coreandvrefbranch.add(gdstk.Reference(pnp_bjt, (92.42,125.625)))
bgr_coreandvrefbranch.add(gdstk.Reference(pnp_bjt, (92.42,132.725)))
bgr_coreandvrefbranch.add(gdstk.Reference(pnp_bjt, (85.32,132.725)))
bgr_coreandvrefbranch.add(gdstk.Reference(pnp_bjt, (85.32,125.625)))
bgr_coreandvrefbranch.add(gdstk.Reference(pnp_bjt, (85.32,139.825)))
bgr_coreandvrefbranch.add(gdstk.Reference(pnp_bjt, (71.12,118.525)))
bgr_coreandvrefbranch.add(gdstk.Reference(pnp_bjt, (64.02,118.525)))
bgr_coreandvrefbranch.add(gdstk.Reference(pnp_bjt, (92.42,118.525)))
bgr_coreandvrefbranch.add(gdstk.Reference(pnp_bjt, (85.32,118.525)))

lib.write_gds('BGR_coreAndVrefBranch.gds')
